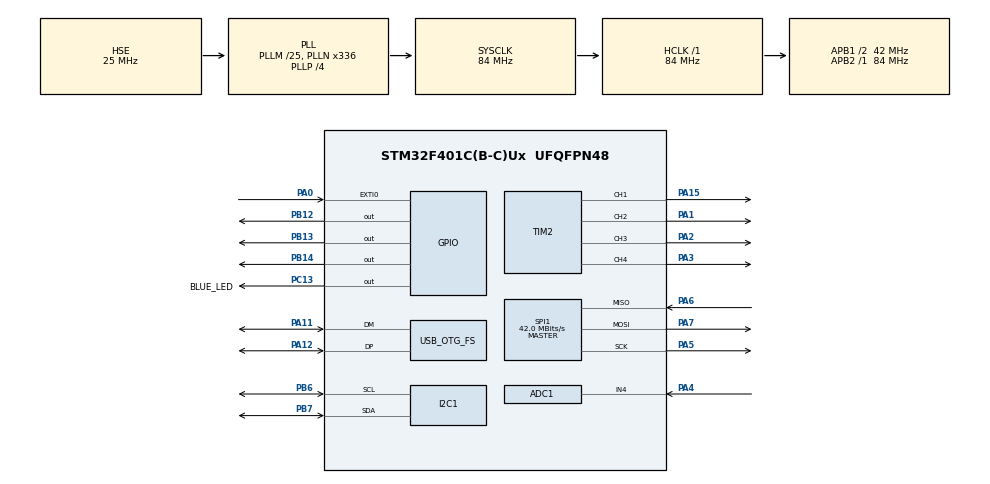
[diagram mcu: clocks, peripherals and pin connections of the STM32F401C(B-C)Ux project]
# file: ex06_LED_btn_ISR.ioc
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ADC1.Channel-2\#ChannelRegularConversion=ADC_CHANNEL_4
ADC1.NbrOfConversionFlag=1
ADC1.Rank-2\#ChannelRegularConversion=1
ADC1.SamplingTime-2\#ChannelRegularConversion=ADC_SAMPLETIME_3CYCLES
ADC1.master=1
Mcu.Family=STM32F4
Mcu.Name=STM32F401C(B-C)Ux
Mcu.Package=UFQFPN48
NVIC.EXTI0_IRQn=true\:6\:0\:true\:false\:true\:true\:true\:true
NVIC.OTG_FS_IRQn=true\:0\:0\:true\:false\:true\:false\:true\:true
NVIC.PriorityGroup=NVIC_PRIORITYGROUP_4
NVIC.TIM1_UP_TIM10_IRQn=true\:15\:0\:false\:false\:true\:false\:true\:true
NVIC.TimeBase=TIM1_UP_TIM10_IRQn
NVIC.TimeBaseIP=TIM1
PA0-WKUP.GPIO_ModeDefaultEXTI=GPIO_MODE_IT_RISING
PA0-WKUP.GPIO_PuPd=GPIO_PULLUP
PA0-WKUP.Signal=GPXTI0
PA1.Signal=S_TIM2_CH2
PA11.Mode=Device_Only
PA11.Signal=USB_OTG_FS_DM
PA12.Mode=Device_Only
PA12.Signal=USB_OTG_FS_DP
PA13.Mode=Trace_Asynchronous_SW
PA13.Signal=SYS_JTMS-SWDIO
PA14.Mode=Trace_Asynchronous_SW
PA14.Signal=SYS_JTCK-SWCLK
PA15.Signal=S_TIM2_CH1_ETR
PA2.Signal=S_TIM2_CH3
PA3.Signal=S_TIM2_CH4
PA4.Signal=ADCx_IN4
PA5.Mode=Full_Duplex_Master
PA5.Signal=SPI1_SCK
PA6.Mode=Full_Duplex_Master
PA6.Signal=SPI1_MISO
PA7.Mode=Full_Duplex_Master
PA7.Signal=SPI1_MOSI
PB12.GPIO_PuPd=GPIO_PULLUP
PB12.PinState=GPIO_PIN_RESET
PB12.Signal=GPIO_Output
PB13.GPIO_PuPd=GPIO_PULLUP
PB13.PinState=GPIO_PIN_RESET
PB13.Signal=GPIO_Output
PB14.GPIO_ModeDefaultOutputPP=GPIO_MODE_OUTPUT_PP
PB14.GPIO_PuPd=GPIO_PULLUP
PB14.PinState=GPIO_PIN_RESET
PB14.Signal=GPIO_Output
PB3.Mode=Trace_Asynchronous_SW
PB3.Signal=SYS_JTDO-SWO
PB6.Mode=I2C
PB6.Signal=I2C1_SCL
PB7.Mode=I2C
PB7.Signal=I2C1_SDA
PC13-ANTI_TAMP.GPIO_Label=BLUE_LED
PC13-ANTI_TAMP.GPIO_ModeDefaultOutputPP=GPIO_MODE_OUTPUT_OD
PC13-ANTI_TAMP.GPIO_PuPd=GPIO_NOPULL
PC13-ANTI_TAMP.PinState=GPIO_PIN_SET
PC13-ANTI_TAMP.Signal=GPIO_Output
PC14-OSC32_IN.Mode=LSE-External-Oscillator
PC14-OSC32_IN.Signal=RCC_OSC32_IN
PC15-OSC32_OUT.Mode=LSE-External-Oscillator
PC15-OSC32_OUT.Signal=RCC_OSC32_OUT
PH0\ -\ OSC_IN.Mode=HSE-External-Oscillator
PH0\ -\ OSC_IN.Signal=RCC_OSC_IN
PH1\ -\ OSC_OUT.Mode=HSE-External-Oscillator
PH1\ -\ OSC_OUT.Signal=RCC_OSC_OUT
ProjectManager.HeapSize=0x200
ProjectManager.StackSize=0x400
ProjectManager.TargetToolchain=STM32CubeIDE
RCC.48MHZClocksFreq_Value=48000000
RCC.AHBFreq_Value=84000000
RCC.APB1CLKDivider=RCC_HCLK_DIV2
RCC.APB1Freq_Value=42000000
RCC.APB1TimFreq_Value=84000000
RCC.APB2Freq_Value=84000000
RCC.APB2TimFreq_Value=84000000
RCC.CortexFreq_Value=84000000
RCC.HCLKFreq_Value=84000000
RCC.HSE_VALUE=25000000
RCC.HSI_VALUE=16000000
RCC.PLLM=25
RCC.PLLN=336
RCC.PLLP=RCC_PLLP_DIV4
RCC.PLLQ=7
RCC.SYSCLKFreq_VALUE=84000000
RCC.SYSCLKSource=RCC_SYSCLKSOURCE_PLLCLK
RCC.VCOOutputFreq_Value=336000000
SH.ADCx_IN4.0=ADC1_IN4,IN4
SH.S_TIM2_CH1_ETR.0=TIM2_CH1,PWM Generation1 CH1
SH.S_TIM2_CH2.0=TIM2_CH2,PWM Generation2 CH2
SH.S_TIM2_CH3.0=TIM2_CH3,PWM Generation3 CH3
SH.S_TIM2_CH4.0=TIM2_CH4,PWM Generation4 CH4
SPI1.BaudRatePrescaler=SPI_BAUDRATEPRESCALER_2
SPI1.CalculateBaudRate=42.0 MBits/s
SPI1.Direction=SPI_DIRECTION_2LINES
SPI1.Mode=SPI_MODE_MASTER
SPI1.VirtualType=VM_MASTER
TIM2.Channel-PWM\ Generation1\ CH1=TIM_CHANNEL_1
TIM2.Channel-PWM\ Generation2\ CH2=TIM_CHANNEL_2
TIM2.Channel-PWM\ Generation3\ CH3=TIM_CHANNEL_3
TIM2.Channel-PWM\ Generation4\ CH4=TIM_CHANNEL_4
USB_DEVICE.CLASS_NAME_FS=CDC
USB_DEVICE.VirtualMode=Cdc
USB_DEVICE.VirtualModeFS=Cdc_FS
USB_OTG_FS.VirtualMode=Device_Only
VP_SYS_VS_tim1.Mode=TIM1
VP_USB_DEVICE_VS_USB_DEVICE_CDC_FS.Mode=CDC_FS
board=custom

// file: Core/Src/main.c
/* USER CODE BEGIN Header */
/**
  ******************************************************************************
  * @file           : main.c
  * @brief          : Main program body
  ******************************************************************************
  * @attention
  *
  * Copyright (c) 2022 STMicroelectronics.
  * All rights reserved.
  *
  * This software is licensed under terms that can be found in the LICENSE file
  * in the root directory of this software component.
  * If no LICENSE file comes with this software, it is provided AS-IS.
  *
  ******************************************************************************
  */
/* USER CODE END Header */
#include "main.h"
#include "adc.h"
#include "i2c.h"
#include "spi.h"
#include "tim.h"
#include "usb_device.h"
#include "gpio.h"

/* USER CODE BEGIN Includes */
#include "dwt_delay.h"
#include "FreeRTOS.h"
#include "task.h"
/* USER CODE END Includes */

/* USER CODE BEGIN PV */
TaskHandle_t led1_task_handle;
TaskHandle_t led2_task_handle;
TaskHandle_t led3_task_handle;
TaskHandle_t volatile next_task_handle;
/* USER CODE END PV */

void SystemClock_Config(void);
/* USER CODE BEGIN PFP */
static void led1_handler(void *parameters);
static void led2_handler(void *parameters);
static void led3_handler(void *parameters);
/* USER CODE END PFP */

int main(void)
{
  /* USER CODE BEGIN 1 */
  BaseType_t status;
  /* USER CODE END 1 */

  /* MCU Configuration--------------------------------------------------------*/

  /* Reset of all peripherals, Initializes the Flash interface and the Systick. */
  HAL_Init();

  /* Configure the system clock */
  SystemClock_Config();

  /* Initialize all configured peripherals */
  MX_GPIO_Init();
  MX_ADC1_Init();
  MX_I2C1_Init();
  MX_SPI1_Init();
  MX_TIM2_Init();
  MX_USB_DEVICE_Init();
  /* USER CODE BEGIN 2 */
  SEGGER_UART_init(500000);
  DWT_Init();
  SEGGER_SYSVIEW_Conf();

  status = xTaskCreate(led1_handler, "LED1_task", 200, NULL, 3, &led1_task_handle);
  configASSERT(status == pdPASS);

  status = xTaskCreate(led2_handler, "LED2_task", 200, NULL, 2, &led2_task_handle);
  configASSERT(status == pdPASS);

  status = xTaskCreate(led3_handler, "LED3_task", 200, NULL, 1, &led3_task_handle);
  configASSERT(status == pdPASS);

  next_task_handle = led1_task_handle;

  vTaskStartScheduler();
  /* USER CODE END 2 */

  /* Infinite loop */
  while (1)
  {

  }
}

void SystemClock_Config(void)
{
  RCC_OscInitTypeDef RCC_OscInitStruct = {0};
  RCC_ClkInitTypeDef RCC_ClkInitStruct = {0};

  /** Configure the main internal regulator output voltage
  */
  __HAL_RCC_PWR_CLK_ENABLE();
  __HAL_PWR_VOLTAGESCALING_CONFIG(PWR_REGULATOR_VOLTAGE_SCALE2);

  /** Initializes the RCC Oscillators according to the specified parameters
  * in the RCC_OscInitTypeDef structure.
  */
  RCC_OscInitStruct.OscillatorType = RCC_OSCILLATORTYPE_HSE;
  RCC_OscInitStruct.HSEState = RCC_HSE_ON;
  RCC_OscInitStruct.PLL.PLLState = RCC_PLL_ON;
  RCC_OscInitStruct.PLL.PLLSource = RCC_PLLSOURCE_HSE;
  RCC_OscInitStruct.PLL.PLLM = 25;
  RCC_OscInitStruct.PLL.PLLN = 336;
  RCC_OscInitStruct.PLL.PLLP = RCC_PLLP_DIV4;
  RCC_OscInitStruct.PLL.PLLQ = 7;
  if (HAL_RCC_OscConfig(&RCC_OscInitStruct) != HAL_OK)
  {
    Error_Handler();
  }

  /** Initializes the CPU, AHB and APB buses clocks
  */
  RCC_ClkInitStruct.ClockType = RCC_CLOCKTYPE_HCLK|RCC_CLOCKTYPE_SYSCLK
                              |RCC_CLOCKTYPE_PCLK1|RCC_CLOCKTYPE_PCLK2;
  RCC_ClkInitStruct.SYSCLKSource = RCC_SYSCLKSOURCE_PLLCLK;
  RCC_ClkInitStruct.AHBCLKDivider = RCC_SYSCLK_DIV1;
  RCC_ClkInitStruct.APB1CLKDivider = RCC_HCLK_DIV2;
  RCC_ClkInitStruct.APB2CLKDivider = RCC_HCLK_DIV1;

  if (HAL_RCC_ClockConfig(&RCC_ClkInitStruct, FLASH_LATENCY_2) != HAL_OK)
  {
    Error_Handler();
  }
}

/* USER CODE BEGIN 4 */
void button_interrupt_handler(void)
{
	BaseType_t pxHigherPriorityTaskWoken = pdFALSE;

	traceISR_ENTER();
	xTaskNotifyFromISR(next_task_handle, 0, eNoAction, &pxHigherPriorityTaskWoken);
	portYIELD_FROM_ISR(pxHigherPriorityTaskWoken);
	traceISR_EXIT();
}

static void led1_handler(void *parameters)
{
	BaseType_t status;

	while(1) {
		SEGGER_SYSVIEW_PrintfTarget("Toggling LED1");
		HAL_GPIO_TogglePin(GPIOB, GPIO_PIN_12);
		status = xTaskNotifyWait(0, 0, NULL, pdMS_TO_TICKS(1000));
		if (status == pdTRUE) {
			portENTER_CRITICAL();
			next_task_handle = led2_task_handle;
			HAL_GPIO_WritePin(GPIOB, GPIO_PIN_12, GPIO_PIN_SET);
			SEGGER_SYSVIEW_PrintfTarget("Delete LED1 task");
			portEXIT_CRITICAL();
			vTaskDelete(NULL); // Self delete
		}
	}
}

static void led2_handler(void *parameters)
{
	BaseType_t status;

	while(1) {
		SEGGER_SYSVIEW_PrintfTarget("Toggling LED2");
		HAL_GPIO_TogglePin(GPIOB, GPIO_PIN_13);
		status = xTaskNotifyWait(0, 0, NULL, pdMS_TO_TICKS(800));
		if (status == pdTRUE) {
			portENTER_CRITICAL();
			next_task_handle = led3_task_handle;
			HAL_GPIO_WritePin(GPIOB, GPIO_PIN_13, GPIO_PIN_SET);
			SEGGER_SYSVIEW_PrintfTarget("Delete LED2 task");
			portEXIT_CRITICAL();
			vTaskDelete(NULL); // Self delete
		}
	}
}

static void led3_handler(void *parameters)
{
	BaseType_t status;

	while(1) {
		SEGGER_SYSVIEW_PrintfTarget("Toggling LED3");
		HAL_GPIO_TogglePin(GPIOB, GPIO_PIN_14);
		status = xTaskNotifyWait(0, 0, NULL, pdMS_TO_TICKS(400));
		if (status == pdTRUE) {
			portENTER_CRITICAL();
			next_task_handle = NULL;
			HAL_GPIO_WritePin(GPIOB, GPIO_PIN_14, GPIO_PIN_SET);
			SEGGER_SYSVIEW_PrintfTarget("Delete LED3 task");
			portEXIT_CRITICAL();
			vTaskDelete(NULL); // Self delete
		}
	}
}
/* USER CODE END 4 */

void HAL_TIM_PeriodElapsedCallback(TIM_HandleTypeDef *htim)
{
  if (htim->Instance == TIM1) {
    HAL_IncTick();
  }
}

void Error_Handler(void)
{
  __disable_irq();
  while (1)
  {
  }
}
